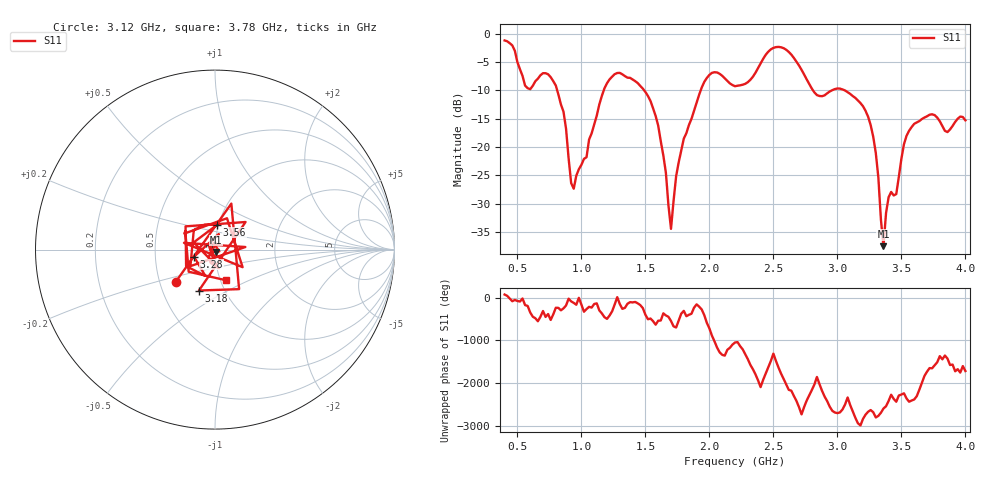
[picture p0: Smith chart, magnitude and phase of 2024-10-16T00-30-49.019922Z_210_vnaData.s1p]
! Created with skrf (http://scikit-rf.org).
# Hz S RI R 50.0
!freq ReS11 ImS11
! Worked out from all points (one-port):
!   181 points, 400 MHz to 4 GHz, reference 50 ohm
!   lowest |S11| = -37.5 dB at 3.36 GHz (marker M1), VSWR 1.03, Z = 50.3 - j1.29 ohm
!   |S11| at or under -10 dB: 811.1 MHz to 1.174 GHz (363.2 MHz wide, 36.6 % of centre); 1.491 GHz to 1.932 GHz (440.8 MHz wide, 25.8 % of centre); 3.06 GHz to end of sweep (the widest 3 of 4)
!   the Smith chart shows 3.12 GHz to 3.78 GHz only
!   S11 on the Smith chart (normalised r, x): 3.12 GHz: 0.61, -0.24; 3.18 GHz: 0.76, -0.37; 3.28 GHz: 0.79, -0.06; 3.56 GHz: 0.99, +0.28; 3.78 GHz: 1.06, -0.38
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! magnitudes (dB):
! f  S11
! 400 MHz  -1.2
! 560 MHz  -9.1
! 740 MHz  -7.1
! 860 MHz  -13.7
! 920 MHz  -26.4
! 940 MHz  -27.4
! 1.18 GHz  -9.6
! 1.3 GHz  -6.9
! 1.58 GHz  -14.5
! 1.66 GHz  -24.5
! 1.7 GHz  -34.5
! 1.76 GHz  -22.7
! 1.98 GHz  -7.8
! 2.2 GHz  -9.3
! 2.5 GHz  -2.5
! 2.66 GHz  -4.3
! 2.84 GHz  -10.8
! 3.1 GHz  -10.6
! 3.12 GHz  -11.0
! 3.18 GHz  -12.2
! 3.28 GHz  -18.2
! 3.32 GHz  -25.4
! 3.36 GHz  -37.5
! 3.4 GHz  -28.9
! 3.46 GHz  -28.3
! 3.56 GHz  -17.1
! 3.78 GHz  -14.8
! 4 GHz  -15.3
